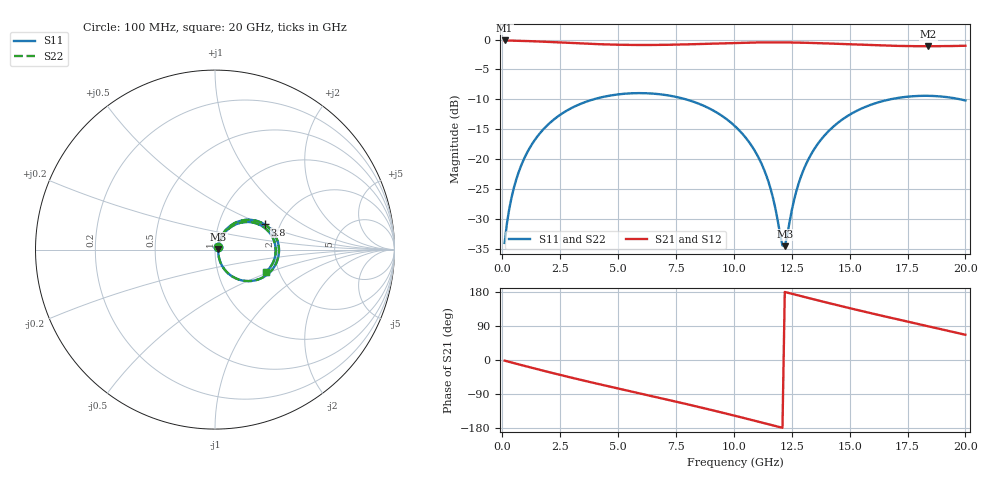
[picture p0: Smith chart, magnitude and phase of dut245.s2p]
! Touchstone file exported from HFSS 2026.1.0
!  File:  C:/ffzhzh/LocalFiles/Ansys_Project_Files/temp_train_TSV_RDL_245_1783066780_17544.aedt
!  Generated:  04:34:01 PM Jul  3, 2026
!  Design:  TSV_RDL
!  Project:  temp_train_TSV_RDL_245_1783066780_17544
! Variables:
!  h_bsmrdl = 4.27um
!  h_ox = 20um
!  h_rdl = 5um
!  h_sub = 95.01um
!  h_tmrdl = 4.88um
!  h_tsv = 95.01um
!  h_via = 3um
!  l_bsmrdl = 145.07um
!  l_sub = 4911.78um
!  l_tmrdl = 976.55um
!  m_sub = 200um
!  pitch = 44.48um
!  r_tsv = 4.99um
!  s_tmrdl = 10um
!  w_bsmrdl = 27.82um
!  w_sub = 500um
!  w_tmrdl = 28.97um
!  x_tsv_center1 = 991.035um
!  x_tsv_center2 = 1163.925um
!  x_tsv_center3 = 2169.445um
!  x_tsv_center4 = 2342.335um
!  x_tsv_center5 = 3347.855um
!  x_tsv_center6 = 3520.745um
# GHz S MA R 50.000000
! Terminal data exported
! Port[1] = TM_RDL1_1_T1
! Port[2] = TM_RDL5_1_T1
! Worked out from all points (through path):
!   200 points, 100 MHz to 20 GHz, reference 50 ohm
!   highest |S21| = -0.14 dB at 100 MHz (marker M1); lowest = -1.1 dB at 18.4 GHz (marker M2)
!   group delay of S21, straight-line fit = 40.8 ps
!   lowest |S11| = -34.6 dB at 12.2 GHz (marker M3), VSWR 1.04, Z = 51.9 + j0.317 ohm
!   |S11| at or under -10 dB: start of sweep to 3.943 GHz; 7.927 GHz to 16.76 GHz (8.828 GHz wide, 71.5 % of centre); 19.78 GHz to end of sweep
!   |S22| runs from -34.5 to -9.0 dB; largest |S21 - S12| = 1.7e-14
!   S11 on the Smith chart (normalised r, x): 100 MHz: 1.03, +0.02; 3.8 GHz: 1.66, +0.52; 20 GHz: 1.71, -0.47
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0.1  0.01983 37.0  0.9844 -1.7  0.9844 -1.7  0.01983 37.0
! Gamma 0 0 0 0
! Port Impedance 50 0 50 0
0.3  0.03817 57.3  0.9817 -5.0  0.9817 -5.0  0.03817 57.3
0.5  0.05733 62.7  0.9798 -8.2  0.9798 -8.2  0.05733 62.7
1.1  0.1159 62.1  0.9729 -17.7  0.9729 -17.7  0.1159 62.1
2.1  0.2044 50.1  0.9552 -33.3  0.9552 -33.3  0.2044 50.1
3.5  0.296 31.0  0.9273 -54.1  0.9273 -54.1  0.296 31.0
3.8  0.3102 26.9  0.9221 -58.4  0.9221 -58.4  0.3101 26.9
5.3  0.3526 6.8  0.9045 -79.3  0.9045 -79.3  0.3526 6.9
6.8  0.3489 -12.9  0.9035 -100.1  0.9035 -100.1  0.3489 -12.8
8.5  0.29 -35.4  0.9193 -124.2  0.9193 -124.2  0.2899 -35.4
10.1  0.1845 -56.3  0.9393 -147.9  0.9393 -147.9  0.1845 -56.2
10.8  0.1263 -64.1  0.9456 -158.7  0.9456 -158.7  0.1262 -64.0
11.3  0.08199 -67.1  0.9482 -166.5  0.9482 -166.5  0.08195 -67.0
11.7  0.04651 -62.9  0.9489 -172.7  0.9489 -172.7  0.0465 -62.7
12.1  0.0189 -18.1  0.9484 -179.0  0.9484 -179.0  0.01899 -17.8
12.2  0.01863 9.4  0.948 179.5  0.948 179.5  0.01875 9.6
12.7  0.05392 59.3  0.9451 171.7  0.9451 171.7  0.05402 59.3
13.4  0.1149 59.5  0.9379 160.9  0.9379 160.9  0.115 59.4
14.8  0.2221 43.5  0.917 139.7  0.917 139.7  0.2222 43.5
16.7  0.3146 18.8  0.89 112.5  0.89 112.5  0.3146 18.8
18.4  0.3384 -3.1  0.8809 88.9  0.8809 88.9  0.3384 -3.1
20  0.3095 -23.7  0.8888 66.6  0.8888 66.6  0.3094 -23.7
